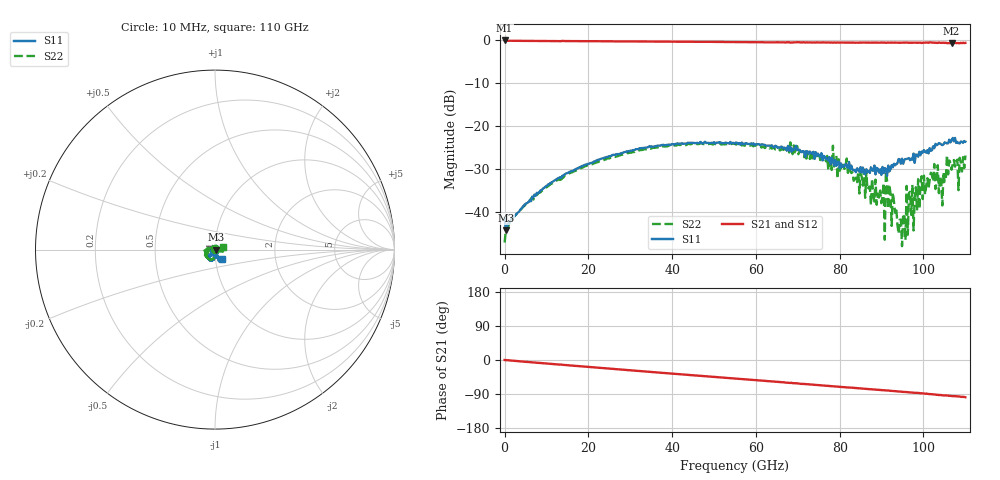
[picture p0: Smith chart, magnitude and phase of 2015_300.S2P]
!  2-Port S-parameters saved by WinCal
! VAR MeasName=S-Parameters (CALIBRATED_DATA) read from VNA (E8361A)
! VAR MeasDate=2015/02/20 19:02:24
! VAR NAME=20150220_TRL_LINE_300um_1
! VAR FILENAME=20150220_TRL_LINE_300um_1.S2P
! VAR DATE=2015/02/20 19:02:24
! VAR PHYS_PORTS=1,2
# Hz S MA R 50
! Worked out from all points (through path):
!   401 points, 10 MHz to 110 GHz, reference 50 ohm
!   highest |S21| = 0.00 dB at 10 MHz (marker M1); lowest = -0.7 dB at 106.7 GHz (marker M2)
!   group delay of S21, straight-line fit = 2.44 ps
!   lowest |S11| = -44.2 dB at 285 MHz (marker M3), VSWR 1.01, Z = 50.6 + j0.0562 ohm
!   |S11| at or under -10 dB: start of sweep to end of sweep
!   |S22| runs from -47.9 to -23.7 dB; largest |S21 - S12| = 0.018
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1e7  0.008574 -114.9  0.9999 0.1  0.9873 0.1  0.004415 100.8
2.84975e8  0.006138 5.2  0.9923 -0.2  0.9924 -0.3  0.005971 0.7
5.784475e9  0.01326 -32.5  0.9877 -5.5  0.9872 -5.3  0.01285 -34.4
1.843332e10  0.03432 -76.0  0.9814 -16.8  0.9811 -16.9  0.03281 -79.0
3.685665e10  0.05973 -102.7  0.9702 -33.2  0.9697 -33.4  0.05757 -110.2
5.5005e10  0.06289 -121.0  0.9573 -49.1  0.9576 -49.4  0.06227 -136.4
7.342832e10  0.04819 -128.5  0.9449 -65.0  0.9381 -64.8  0.04221 -172.2
8.195255e10  0.03274 -121.7  0.9448 -72.4  0.9398 -72.4  0.0286 173.6
8.772702e10  0.03069 -101.8  0.9439 -77.5  0.9412 -77.3  0.02447 167.4
8.992682e10  0.02707 -92.1  0.9461 -79.2  0.9413 -79.2  0.0127 112.3
9.02018e10  0.0336 -96.0  0.9436 -79.4  0.9403 -79.6  0.01513 -176.0
9.157668e10  0.03486 -90.9  0.9426 -80.4  0.9379 -80.7  0.01095 -143.9
9.185165e10  0.02981 -84.9  0.9422 -81.0  0.939 -81.1  0.02094 123.9
9.322652e10  0.03503 -76.0  0.9457 -82.2  0.9392 -82.3  0.009803 86.9
9.432642e10  0.04108 -77.8  0.9407 -83.3  0.9384 -83.3  0.008136 63.8
9.515135e10  0.03662 -79.7  0.9426 -84.2  0.9393 -84.0  0.009427 58.0
9.652622e10  0.04248 -72.0  0.9397 -85.4  0.9367 -85.3  0.01669 67.3
1.020257e11  0.05248 -59.9  0.9422 -90.4  0.9317 -90.1  0.02688 1.9
1.047755e11  0.06148 -62.7  0.9404 -93.4  0.9278 -92.7  0.02935 3.0
1.067003e11  0.06834 -61.6  0.9227 -95.2  0.9265 -94.6  0.0312 -6.5
1.086251e11  0.06289 -69.1  0.9277 -96.3  0.9255 -96.1  0.04296 5.3
1.1e11  0.06618 -55.9  0.9368 -98.3  0.9301 -97.6  0.04562 15.2
